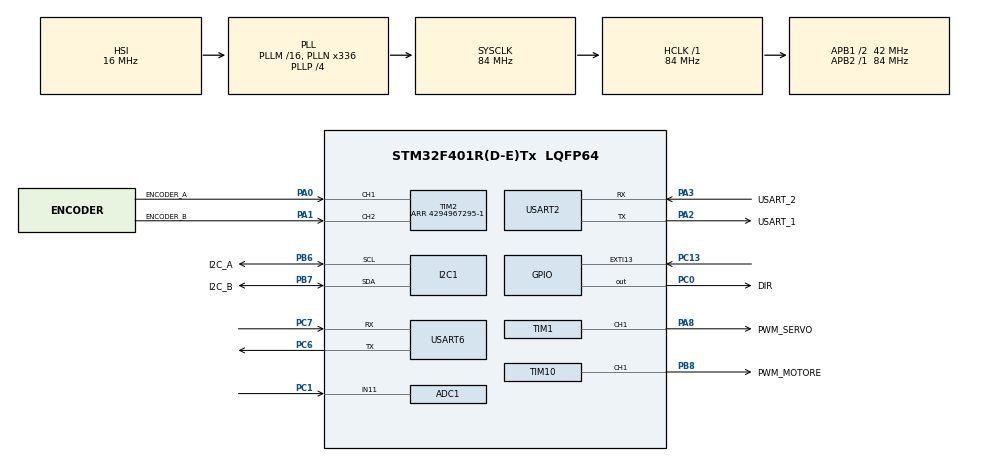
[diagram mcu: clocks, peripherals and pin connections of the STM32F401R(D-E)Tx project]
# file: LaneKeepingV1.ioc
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ADC1.Channel-0\#ChannelRegularConversion=ADC_CHANNEL_11
ADC1.NbrOfConversionFlag=1
ADC1.Rank-0\#ChannelRegularConversion=1
ADC1.SamplingTime-0\#ChannelRegularConversion=ADC_SAMPLETIME_3CYCLES
ADC1.master=1
Mcu.Family=STM32F4
Mcu.Name=STM32F401R(D-E)Tx
Mcu.Package=LQFP64
NVIC.EXTI15_10_IRQn=true\:0\:0\:false\:false\:true\:true\:true\:true
NVIC.PriorityGroup=NVIC_PRIORITYGROUP_0
NVIC.TIM1_BRK_TIM9_IRQn=true\:0\:0\:false\:false\:true\:true\:true\:true
NVIC.TIM1_TRG_COM_TIM11_IRQn=true\:0\:0\:false\:false\:true\:true\:true\:true
PA0-WKUP.GPIO_Label=ENCODER_A
PA0-WKUP.Signal=S_TIM2_CH1_ETR
PA1.GPIO_Label=ENCODER_B
PA1.Signal=S_TIM2_CH2
PA13.GPIO_Label=TMS
PA13.Mode=Serial_Wire
PA13.Signal=SYS_JTMS-SWDIO
PA14.GPIO_Label=TCK
PA14.Mode=Serial_Wire
PA14.Signal=SYS_JTCK-SWCLK
PA2.GPIO_Label=USART_1
PA2.Mode=Asynchronous
PA2.Signal=USART2_TX
PA3.GPIO_Label=USART_2
PA3.Mode=Asynchronous
PA3.Signal=USART2_RX
PA8.GPIO_Label=PWM_SERVO
PA8.Signal=S_TIM1_CH1
PB3.GPIO_Label=SWO
PB3.Signal=SYS_JTDO-SWO
PB6.GPIO_Label=I2C_A
PB6.Mode=I2C
PB6.Signal=I2C1_SCL
PB7.GPIO_Label=I2C_B
PB7.Mode=I2C
PB7.Signal=I2C1_SDA
PB8.GPIO_Label=PWM_MOTORE
PB8.Signal=S_TIM10_CH1
PC0.GPIO_Label=DIR
PC0.Signal=GPIO_Output
PC1.Signal=ADCx_IN11
PC13-ANTI_TAMP.GPIO_ModeDefaultEXTI=GPIO_MODE_IT_FALLING
PC13-ANTI_TAMP.Signal=GPXTI13
PC14-OSC32_IN.Mode=LSE-External-Oscillator
PC14-OSC32_IN.Signal=RCC_OSC32_IN
PC15-OSC32_OUT.Mode=LSE-External-Oscillator
PC15-OSC32_OUT.Signal=RCC_OSC32_OUT
PC6.Mode=Asynchronous
PC6.Signal=USART6_TX
PC7.Mode=Asynchronous
PC7.Signal=USART6_RX
PH0\ -\ OSC_IN.Mode=HSE-External-Clock-Source
PH0\ -\ OSC_IN.Signal=RCC_OSC_IN
PH1\ -\ OSC_OUT.Mode=HSE-External-Clock-Source
PH1\ -\ OSC_OUT.Signal=RCC_OSC_OUT
ProjectManager.HeapSize=0x200
ProjectManager.StackSize=0x400
ProjectManager.TargetToolchain=STM32CubeIDE
RCC.48MHZClocksFreq_Value=48000000
RCC.AHBFreq_Value=84000000
RCC.APB1CLKDivider=RCC_HCLK_DIV2
RCC.APB1Freq_Value=42000000
RCC.APB1TimFreq_Value=84000000
RCC.APB2Freq_Value=84000000
RCC.APB2TimFreq_Value=84000000
RCC.CortexFreq_Value=84000000
RCC.HCLKFreq_Value=84000000
RCC.HSE_VALUE=8000000
RCC.HSI_VALUE=16000000
RCC.PLLN=336
RCC.PLLP=RCC_PLLP_DIV4
RCC.PLLQ=7
RCC.SYSCLKFreq_VALUE=84000000
RCC.SYSCLKSource=RCC_SYSCLKSOURCE_PLLCLK
RCC.VCOOutputFreq_Value=336000000
SH.ADCx_IN11.0=ADC1_IN11,IN11
SH.S_TIM10_CH1.0=TIM10_CH1,PWM Generation1 CH1
SH.S_TIM1_CH1.0=TIM1_CH1,PWM Generation1 CH1
SH.S_TIM2_CH1_ETR.0=TIM2_CH1,Encoder_Interface
SH.S_TIM2_CH2.0=TIM2_CH2,Encoder_Interface
TIM1.Channel-PWM\ Generation1\ CH1=TIM_CHANNEL_1
TIM1.Period=1001-1
TIM1.Prescaler=1681-1
TIM1.Pulse-PWM\ Generation1\ CH1=0
TIM10.Channel=TIM_CHANNEL_1
TIM10.Period=1000-1
TIM10.Prescaler=84-1
TIM10.Pulse=0
TIM11.Period=7000-1
TIM11.Prescaler=120-1
TIM2.EncoderMode=TIM_ENCODERMODE_TI12
TIM2.IC1Filter=0
TIM2.Period=4294967295-1
USART2.VirtualMode=VM_ASYNC
USART6.VirtualMode=VM_ASYNC
VP_TIM10_VS_ClockSourceINT.Mode=Enable_Timer
VP_TIM11_VS_ClockSourceINT.Mode=Enable_Timer
VP_TIM1_VS_ClockSourceINT.Mode=Internal
board=NUCLEO-F401RE

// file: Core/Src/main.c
/* USER CODE BEGIN Header */
/**
 ******************************************************************************
 * @file           : main.c
 * @brief          : Main program body
 ******************************************************************************
 * @attention
 *
 * Copyright (c) 2023 STMicroelectronics.
 * All rights reserved.
 *
 * This software is licensed under terms that can be found in the LICENSE file
 * in the root directory of this software component.
 * If no LICENSE file comes with this software, it is provided AS-IS.
 *
 ******************************************************************************
 */
/* USER CODE END Header */
#include "main.h"

/* USER CODE BEGIN Includes */
#include <stdlib.h>
#include <stdbool.h>
#include "math.h"

#include "Configuration.h"
#include "bno055_stm32.h"
#include "servo_motor.h"
#include "DC_motor.h"
#include "PID.h"
#include "Raspberry_UART.h"
/* USER CODE END Includes */

/* USER CODE BEGIN PTD */
typedef struct SerialData {
	int enable;
	int valid;
	float offset;

	float curvature_radius_ref_m; // [m]
	float linear_speed_ref_m_s; //[m/s]
} serialData;

typedef struct VehicleData {
	//Trazione
	int counts;
	int ref_count;
	int delta_count;
	float delta_angle_deg; // [°]
	float motor_speed_deg_sec; // [°/s]
	float motor_speed_RPM; // RPM
	float linear_speed_m_s; //[m/s]
	float motor_speed_ref_RPM; // RPM
	uint8_t motor_direction_ref;

	//Sterzo
	double yaw_rate_rad_sec; // [rad/s]
	double yaw_rate_deg_sec; // [°/s]
	double yaw_rate_ref_rad_sec; //[rad/s]
} vehicleData;
/* USER CODE END PTD */

/* USER CODE BEGIN PD */
#define MAX_VALUES 5
/* USER CODE END PD */

ADC_HandleTypeDef hadc1;

I2C_HandleTypeDef hi2c1;

TIM_HandleTypeDef htim1;
TIM_HandleTypeDef htim2;
TIM_HandleTypeDef htim10;
TIM_HandleTypeDef htim11;

UART_HandleTypeDef huart2;
UART_HandleTypeDef huart6;

/* USER CODE BEGIN PV */

serialData data;
vehicleData vehicleState;

//PID
PID pid_traction, pid_steering;
double u_trazione = 0;
double u_sterzo = 0;

//Event control
int Flag_10ms = 0;
int HardwareEnable = 1;
int time_counter = 0;

//Serial input var
uint8_t msg[45] = { "\0" };

/* USER CODE END PV */

void SystemClock_Config(void);
static void MX_GPIO_Init(void);
static void MX_I2C1_Init(void);
static void MX_TIM1_Init(void);
static void MX_TIM10_Init(void);
static void MX_TIM11_Init(void);
static void MX_USART2_UART_Init(void);
static void MX_TIM2_Init(void);
static void MX_USART6_UART_Init(void);
static void MX_ADC1_Init(void);

int main(void) {

	/* MCU Configuration--------------------------------------------------------*/

	/* Reset of all peripherals, Initializes the Flash interface and the Systick. */
	HAL_Init();

	/* Configure the system clock */
	SystemClock_Config();

	/* Initialize all configured peripherals */
	MX_GPIO_Init();
	MX_I2C1_Init();
	MX_TIM1_Init();
	MX_TIM10_Init();
	MX_TIM11_Init();
	MX_USART2_UART_Init();
	MX_TIM2_Init();
	MX_USART6_UART_Init();
	MX_ADC1_Init();
	/* USER CODE BEGIN 2 */

	//PWM Servo
	HAL_TIM_PWM_Start(&htim1, TIM_CHANNEL_1);
	//PWM DC motor
	HAL_TIM_PWM_Start(&htim10, TIM_CHANNEL_1);
	//ENCODER TIMER
	HAL_TIM_Encoder_Start(&htim2, TIM_CHANNEL_ALL);
	//10ms TIMER
	HAL_TIM_Base_Start_IT(&htim11);

	//PID traction
	init_PID(&pid_traction, TRACTION_SAMPLING_TIME, MAX_U_TRACTION,
	MIN_U_TRACTION);
	tune_PID(&pid_traction, KP_TRACTION, KI_TRACTION, 0);

	//PID steering
	init_PID(&pid_steering, STEERING_SAMPLING_TIME, MAX_U_STEERING,
	MIN_U_STEERING);
	tune_PID(&pid_steering, KP_STEERING, KI_STEERING, 0);

	// IMU BNO055 config
	HAL_I2C_IsDeviceReady(&hi2c1, BNO055_I2C_ADDR << 1, 5, 1000);
	bno055_assignI2C(&hi2c1);
	bno055_setup();
	bno055_setOperationModeNDOF();

	servo_motor(0);

	printf("Initialization Completed!\r\n");

	//Test without Raspberry
	//data.enable = 0;
	//data.valid = 1;
	//data.offset = 0.0;
	//data.curvature_radius_ref_m = MAX_CURVATURE_RADIUS_FOR_STRAIGHT; //with r=1000000 the car goes straight
	//data.linear_speed_ref_m_s = 1.0;

	float RPM_2_m_s = (2 * M_PI / 60) * WHEEL_RADIUS
			/ MOTOR_REVOLUTION_FOR_ONE_WHEEL_REVOLUTION;
	RPM_2_m_s = RPM_2_m_s * 0.787; // correzione aggiunta xk non andava a 1m/s ma a 0.82m/s

	/* USER CODE END 2 */

	/* Infinite loop */
	while (1) {

		/* USER CODE BEGIN 3 */

		//-------------------------------------------------------------
		//Leggo messaggio in entrata
		mainSerialRead(msg, sizeof(msg));
		//-------------------------------------------------------------

		//-------------------------------------------------------------
		//Interpreto il messaggio
		float floatArray[MAX_VALUES];
		parseCSV(msg, floatArray);
		data.enable = (int) floatArray[0];
		data.valid = (int) floatArray[1];
		data.curvature_radius_ref_m = floatArray[2];
		data.offset = floatArray[3];
		data.linear_speed_ref_m_s = floatArray[4];

		printf("%d %d %.2f %.2f %.2f\r\n", data.enable, data.valid,
								data.curvature_radius_ref_m, data.offset,
								data.linear_speed_ref_m_s);
		//-------------------------------------------------------------

		//-------------------------------------------------------------
		//Controllo
		if (data.enable == 1 /*&& HardwareEnable == 1*/) {
			if (Flag_10ms == 1) { //Car enabled from user
				Flag_10ms = 0;

				//-------------------------------------------------------------
				//TRACTION control

				//Measure speed with encoder
				vehicleState.ref_count = TIM2->ARR / 2;
				vehicleState.delta_count = vehicleState.counts
						- vehicleState.ref_count;

				vehicleState.delta_angle_deg = (vehicleState.delta_count * 360)
						/ ((double) (ENCODER_PPR * ENCODER_COUNTING_MODE
								* GEARBOX_RATIO));
				vehicleState.motor_speed_deg_sec = vehicleState.delta_angle_deg
						/ ENCODER_SAMPLING_TIME;
				vehicleState.motor_speed_RPM = DegreeSec2RPM(
						vehicleState.motor_speed_deg_sec);

				//Speed reference for motor
				vehicleState.motor_speed_ref_RPM = data.linear_speed_ref_m_s
						/ RPM_2_m_s;

				vehicleState.motor_direction_ref = Ref2Direction(
						vehicleState.motor_speed_ref_RPM);

				u_trazione = PID_controller(&pid_traction,
						abs(vehicleState.motor_speed_RPM),
						abs(vehicleState.motor_speed_ref_RPM));

				set_PWM_and_dir((uint32_t) Voltage2Duty(u_trazione),
						vehicleState.motor_direction_ref);

				/*printf("counts: %d, diff_counts: %d, diff_angle: %f, speed_RPM: %f, ref_speed_RPM: %f\r\n",
				 vehicleState.counts, vehicleState.delta_count,
				 vehicleState.delta_angle_deg,
				 vehicleState.motor_speed_RPM, motor_speed_ref_RPM);
				 */
				//-------------------------------------------------------------
				//-------------------------------------------------------------
				//STEERING control
				//Get yawrate from IMU
				bno055_vector_t v = bno055_getVectorGyroscope();
				vehicleState.yaw_rate_deg_sec = v.z;
				vehicleState.yaw_rate_rad_sec = (vehicleState.yaw_rate_deg_sec
						* M_PI) / 180;

				if (data.curvature_radius_ref_m
						>= MAX_CURVATURE_RADIUS_FOR_STRAIGHT) {
					vehicleState.yaw_rate_ref_rad_sec = 0;
					u_sterzo = PID_controller(&pid_steering,
							vehicleState.yaw_rate_rad_sec,
							vehicleState.yaw_rate_ref_rad_sec);
					servo_motor(-u_sterzo); //minus because yawrate and steering are opposite
				} else {
					vehicleState.linear_speed_m_s = vehicleState.motor_speed_RPM
							* RPM_2_m_s;
					vehicleState.yaw_rate_ref_rad_sec =
							vehicleState.linear_speed_m_s
									/ data.curvature_radius_ref_m;

					float yaw_rate_ref_rad_sec_abs =
							vehicleState.yaw_rate_ref_rad_sec;
					float yaw_rate_rad_sec_abs = vehicleState.yaw_rate_rad_sec;
					if (vehicleState.yaw_rate_ref_rad_sec < 0)
						yaw_rate_ref_rad_sec_abs =
								-vehicleState.yaw_rate_ref_rad_sec;
					if (vehicleState.yaw_rate_rad_sec < 0)
						yaw_rate_rad_sec_abs = -vehicleState.yaw_rate_rad_sec;

					u_sterzo = PID_controller(&pid_steering,
							yaw_rate_rad_sec_abs, yaw_rate_ref_rad_sec_abs);

					//minus because yawrate and steering are opposite
					if (data.curvature_radius_ref_m >= 0 && u_sterzo > 0)
						u_sterzo *= -1.0;
					if (data.curvature_radius_ref_m < 0 && u_sterzo < 0)
						u_sterzo *= -1.0;

					servo_motor((int) u_sterzo);
					//servo_motor(10.8);

					/*printf("u sterzo: %d, yaw_rate: %f, ref: %f\r\n",
					 (int) u_sterzo, vehicleState.yaw_rate_rad_sec,
					 vehicleState.yaw_rate_ref_rad_sec);
					 */
					//-------------------------------------------------------------
				}
				/*printf("%.2f,%f,%f,%f,%.2f,%f,%f,%.2f\r\n",
						data.curvature_radius_ref_m,
						vehicleState.yaw_rate_ref_rad_sec,
						vehicleState.yaw_rate_rad_sec, u_sterzo,
						data.linear_speed_ref_m_s,
						vehicleState.motor_speed_ref_RPM,
						vehicleState.motor_speed_RPM, u_trazione);*/
			}
		} else {
			set_PWM_and_dir(0, vehicleState.motor_direction_ref);
			servo_motor(0);
		}

		//-------------------------------------------------------------

	}
	/* USER CODE END 3 */
}

void SystemClock_Config(void) {
	RCC_OscInitTypeDef RCC_OscInitStruct = { 0 };
	RCC_ClkInitTypeDef RCC_ClkInitStruct = { 0 };

	/** Configure the main internal regulator output voltage
	 */
	__HAL_RCC_PWR_CLK_ENABLE();
	__HAL_PWR_VOLTAGESCALING_CONFIG(PWR_REGULATOR_VOLTAGE_SCALE2);

	/** Initializes the RCC Oscillators according to the specified parameters
	 * in the RCC_OscInitTypeDef structure.
	 */
	RCC_OscInitStruct.OscillatorType = RCC_OSCILLATORTYPE_HSI;
	RCC_OscInitStruct.HSIState = RCC_HSI_ON;
	RCC_OscInitStruct.HSICalibrationValue = RCC_HSICALIBRATION_DEFAULT;
	RCC_OscInitStruct.PLL.PLLState = RCC_PLL_ON;
	RCC_OscInitStruct.PLL.PLLSource = RCC_PLLSOURCE_HSI;
	RCC_OscInitStruct.PLL.PLLM = 16;
	RCC_OscInitStruct.PLL.PLLN = 336;
	RCC_OscInitStruct.PLL.PLLP = RCC_PLLP_DIV4;
	RCC_OscInitStruct.PLL.PLLQ = 7;
	if (HAL_RCC_OscConfig(&RCC_OscInitStruct) != HAL_OK) {
		Error_Handler();
	}

	/** Initializes the CPU, AHB and APB buses clocks
	 */
	RCC_ClkInitStruct.ClockType = RCC_CLOCKTYPE_HCLK | RCC_CLOCKTYPE_SYSCLK
			| RCC_CLOCKTYPE_PCLK1 | RCC_CLOCKTYPE_PCLK2;
	RCC_ClkInitStruct.SYSCLKSource = RCC_SYSCLKSOURCE_PLLCLK;
	RCC_ClkInitStruct.AHBCLKDivider = RCC_SYSCLK_DIV1;
	RCC_ClkInitStruct.APB1CLKDivider = RCC_HCLK_DIV2;
	RCC_ClkInitStruct.APB2CLKDivider = RCC_HCLK_DIV1;

	if (HAL_RCC_ClockConfig(&RCC_ClkInitStruct, FLASH_LATENCY_2) != HAL_OK) {
		Error_Handler();
	}
}

static void MX_ADC1_Init(void) {

	ADC_ChannelConfTypeDef sConfig = { 0 };

	/** Configure the global features of the ADC (Clock, Resolution, Data Alignment and number of conversion)
	 */
	hadc1.Instance = ADC1;
	hadc1.Init.ClockPrescaler = ADC_CLOCK_SYNC_PCLK_DIV4;
	hadc1.Init.Resolution = ADC_RESOLUTION_12B;
	hadc1.Init.ScanConvMode = DISABLE;
	hadc1.Init.ContinuousConvMode = DISABLE;
	hadc1.Init.DiscontinuousConvMode = DISABLE;
	hadc1.Init.ExternalTrigConvEdge = ADC_EXTERNALTRIGCONVEDGE_NONE;
	hadc1.Init.ExternalTrigConv = ADC_SOFTWARE_START;
	hadc1.Init.DataAlign = ADC_DATAALIGN_RIGHT;
	hadc1.Init.NbrOfConversion = 1;
	hadc1.Init.DMAContinuousRequests = DISABLE;
	hadc1.Init.EOCSelection = ADC_EOC_SINGLE_CONV;
	if (HAL_ADC_Init(&hadc1) != HAL_OK) {
		Error_Handler();
	}

	/** Configure for the selected ADC regular channel its corresponding rank in the sequencer and its sample time.
	 */
	sConfig.Channel = ADC_CHANNEL_11;
	sConfig.Rank = 1;
	sConfig.SamplingTime = ADC_SAMPLETIME_3CYCLES;
	if (HAL_ADC_ConfigChannel(&hadc1, &sConfig) != HAL_OK) {
		Error_Handler();
	}

}

static void MX_I2C1_Init(void) {

	hi2c1.Instance = I2C1;
	hi2c1.Init.ClockSpeed = 100000;
	hi2c1.Init.DutyCycle = I2C_DUTYCYCLE_2;
	hi2c1.Init.OwnAddress1 = 0;
	hi2c1.Init.AddressingMode = I2C_ADDRESSINGMODE_7BIT;
	hi2c1.Init.DualAddressMode = I2C_DUALADDRESS_DISABLE;
	hi2c1.Init.OwnAddress2 = 0;
	hi2c1.Init.GeneralCallMode = I2C_GENERALCALL_DISABLE;
	hi2c1.Init.NoStretchMode = I2C_NOSTRETCH_DISABLE;
	if (HAL_I2C_Init(&hi2c1) != HAL_OK) {
		Error_Handler();
	}

}

static void MX_TIM1_Init(void) {

	TIM_ClockConfigTypeDef sClockSourceConfig = { 0 };
	TIM_MasterConfigTypeDef sMasterConfig = { 0 };
	TIM_OC_InitTypeDef sConfigOC = { 0 };
	TIM_BreakDeadTimeConfigTypeDef sBreakDeadTimeConfig = { 0 };

	htim1.Instance = TIM1;
	htim1.Init.Prescaler = 1681 - 1;
	htim1.Init.CounterMode = TIM_COUNTERMODE_UP;
	htim1.Init.Period = 1001 - 1;
	htim1.Init.ClockDivision = TIM_CLOCKDIVISION_DIV1;
	htim1.Init.RepetitionCounter = 0;
	htim1.Init.AutoReloadPreload = TIM_AUTORELOAD_PRELOAD_DISABLE;
	if (HAL_TIM_Base_Init(&htim1) != HAL_OK) {
		Error_Handler();
	}
	sClockSourceConfig.ClockSource = TIM_CLOCKSOURCE_INTERNAL;
	if (HAL_TIM_ConfigClockSource(&htim1, &sClockSourceConfig) != HAL_OK) {
		Error_Handler();
	}
	if (HAL_TIM_PWM_Init(&htim1) != HAL_OK) {
		Error_Handler();
	}
	sMasterConfig.MasterOutputTrigger = TIM_TRGO_RESET;
	sMasterConfig.MasterSlaveMode = TIM_MASTERSLAVEMODE_DISABLE;
	if (HAL_TIMEx_MasterConfigSynchronization(&htim1, &sMasterConfig)
			!= HAL_OK) {
		Error_Handler();
	}
	sConfigOC.OCMode = TIM_OCMODE_PWM1;
	sConfigOC.Pulse = 0;
	sConfigOC.OCPolarity = TIM_OCPOLARITY_HIGH;
	sConfigOC.OCNPolarity = TIM_OCNPOLARITY_HIGH;
	sConfigOC.OCFastMode = TIM_OCFAST_DISABLE;
	sConfigOC.OCIdleState = TIM_OCIDLESTATE_RESET;
	sConfigOC.OCNIdleState = TIM_OCNIDLESTATE_RESET;
	if (HAL_TIM_PWM_ConfigChannel(&htim1, &sConfigOC, TIM_CHANNEL_1)
			!= HAL_OK) {
		Error_Handler();
	}
	sBreakDeadTimeConfig.OffStateRunMode = TIM_OSSR_DISABLE;
	sBreakDeadTimeConfig.OffStateIDLEMode = TIM_OSSI_DISABLE;
	sBreakDeadTimeConfig.LockLevel = TIM_LOCKLEVEL_OFF;
	sBreakDeadTimeConfig.DeadTime = 0;
	sBreakDeadTimeConfig.BreakState = TIM_BREAK_DISABLE;
	sBreakDeadTimeConfig.BreakPolarity = TIM_BREAKPOLARITY_HIGH;
	sBreakDeadTimeConfig.AutomaticOutput = TIM_AUTOMATICOUTPUT_DISABLE;
	if (HAL_TIMEx_ConfigBreakDeadTime(&htim1, &sBreakDeadTimeConfig)
			!= HAL_OK) {
		Error_Handler();
	}
	HAL_TIM_MspPostInit(&htim1);

}

static void MX_TIM2_Init(void) {

	TIM_Encoder_InitTypeDef sConfig = { 0 };
	TIM_MasterConfigTypeDef sMasterConfig = { 0 };

	htim2.Instance = TIM2;
	htim2.Init.Prescaler = 0;
	htim2.Init.CounterMode = TIM_COUNTERMODE_UP;
	htim2.Init.Period = 4294967295 - 1;
	htim2.Init.ClockDivision = TIM_CLOCKDIVISION_DIV1;
	htim2.Init.AutoReloadPreload = TIM_AUTORELOAD_PRELOAD_DISABLE;
	sConfig.EncoderMode = TIM_ENCODERMODE_TI12;
	sConfig.IC1Polarity = TIM_ICPOLARITY_RISING;
	sConfig.IC1Selection = TIM_ICSELECTION_DIRECTTI;
	sConfig.IC1Prescaler = TIM_ICPSC_DIV1;
	sConfig.IC1Filter = 0;
	sConfig.IC2Polarity = TIM_ICPOLARITY_RISING;
	sConfig.IC2Selection = TIM_ICSELECTION_DIRECTTI;
	sConfig.IC2Prescaler = TIM_ICPSC_DIV1;
	sConfig.IC2Filter = 0;
	if (HAL_TIM_Encoder_Init(&htim2, &sConfig) != HAL_OK) {
		Error_Handler();
	}
	sMasterConfig.MasterOutputTrigger = TIM_TRGO_RESET;
	sMasterConfig.MasterSlaveMode = TIM_MASTERSLAVEMODE_DISABLE;
	if (HAL_TIMEx_MasterConfigSynchronization(&htim2, &sMasterConfig)
			!= HAL_OK) {
		Error_Handler();
	}

}

static void MX_TIM10_Init(void) {

	TIM_OC_InitTypeDef sConfigOC = { 0 };

	htim10.Instance = TIM10;
	htim10.Init.Prescaler = 84 - 1;
	htim10.Init.CounterMode = TIM_COUNTERMODE_UP;
	htim10.Init.Period = 1000 - 1;
	htim10.Init.ClockDivision = TIM_CLOCKDIVISION_DIV1;
	htim10.Init.AutoReloadPreload = TIM_AUTORELOAD_PRELOAD_DISABLE;
	if (HAL_TIM_Base_Init(&htim10) != HAL_OK) {
		Error_Handler();
	}
	if (HAL_TIM_PWM_Init(&htim10) != HAL_OK) {
		Error_Handler();
	}
	sConfigOC.OCMode = TIM_OCMODE_PWM1;
	sConfigOC.Pulse = 0;
	sConfigOC.OCPolarity = TIM_OCPOLARITY_HIGH;
	sConfigOC.OCFastMode = TIM_OCFAST_DISABLE;
	if (HAL_TIM_PWM_ConfigChannel(&htim10, &sConfigOC, TIM_CHANNEL_1)
			!= HAL_OK) {
		Error_Handler();
	}
	HAL_TIM_MspPostInit(&htim10);

}

static void MX_TIM11_Init(void) {

	htim11.Instance = TIM11;
	htim11.Init.Prescaler = 120 - 1;
	htim11.Init.CounterMode = TIM_COUNTERMODE_UP;
	htim11.Init.Period = 7000 - 1;
	htim11.Init.ClockDivision = TIM_CLOCKDIVISION_DIV1;
	htim11.Init.AutoReloadPreload = TIM_AUTORELOAD_PRELOAD_DISABLE;
	if (HAL_TIM_Base_Init(&htim11) != HAL_OK) {
		Error_Handler();
	}

}

static void MX_USART2_UART_Init(void) {

	huart2.Instance = USART2;
	huart2.Init.BaudRate = 115200;
	huart2.Init.WordLength = UART_WORDLENGTH_8B;
	huart2.Init.StopBits = UART_STOPBITS_1;
	huart2.Init.Parity = UART_PARITY_NONE;
	huart2.Init.Mode = UART_MODE_TX_RX;
	huart2.Init.HwFlowCtl = UART_HWCONTROL_NONE;
	huart2.Init.OverSampling = UART_OVERSAMPLING_16;
	if (HAL_UART_Init(&huart2) != HAL_OK) {
		Error_Handler();
	}

}

static void MX_USART6_UART_Init(void) {

	huart6.Instance = USART6;
	huart6.Init.BaudRate = 115200;
	huart6.Init.WordLength = UART_WORDLENGTH_8B;
	huart6.Init.StopBits = UART_STOPBITS_1;
	huart6.Init.Parity = UART_PARITY_NONE;
	huart6.Init.Mode = UART_MODE_TX_RX;
	huart6.Init.HwFlowCtl = UART_HWCONTROL_NONE;
	huart6.Init.OverSampling = UART_OVERSAMPLING_16;
	if (HAL_UART_Init(&huart6) != HAL_OK) {
		Error_Handler();
	}

}

static void MX_GPIO_Init(void) {
	GPIO_InitTypeDef GPIO_InitStruct = { 0 };

	/* GPIO Ports Clock Enable */
	__HAL_RCC_GPIOC_CLK_ENABLE();
	__HAL_RCC_GPIOH_CLK_ENABLE();
	__HAL_RCC_GPIOA_CLK_ENABLE();
	__HAL_RCC_GPIOB_CLK_ENABLE();

	/*Configure GPIO pin Output Level */
	HAL_GPIO_WritePin(DIR_GPIO_Port, DIR_Pin, GPIO_PIN_RESET);

	/*Configure GPIO pin : PC13 */
	GPIO_InitStruct.Pin = GPIO_PIN_13;
	GPIO_InitStruct.Mode = GPIO_MODE_IT_FALLING;
	GPIO_InitStruct.Pull = GPIO_NOPULL;
	HAL_GPIO_Init(GPIOC, &GPIO_InitStruct);

	/*Configure GPIO pin : DIR_Pin */
	GPIO_InitStruct.Pin = DIR_Pin;
	GPIO_InitStruct.Mode = GPIO_MODE_OUTPUT_PP;
	GPIO_InitStruct.Pull = GPIO_NOPULL;
	GPIO_InitStruct.Speed = GPIO_SPEED_FREQ_LOW;
	HAL_GPIO_Init(DIR_GPIO_Port, &GPIO_InitStruct);

	/* EXTI interrupt init*/
	HAL_NVIC_SetPriority(EXTI15_10_IRQn, 0, 0);
	HAL_NVIC_EnableIRQ(EXTI15_10_IRQn);

}

/* USER CODE BEGIN 4 */

//Timer11 for temporization
void HAL_TIM_PeriodElapsedCallback(TIM_HandleTypeDef *htim) {
	if (htim == &htim11) {
		Flag_10ms = 1;

		//Encoder
		vehicleState.counts = TIM2->CNT;
		TIM2->CNT = TIM2->ARR / 2;

		//References
		time_counter++;

		if (time_counter == 200) {
			data.curvature_radius_ref_m = 1.3; //2.2;//2.2; //1.3;
			pid_steering.Iterm = 0;
			pid_steering.e_old = 0;
		}

		if (time_counter == 580) {
			data.enable = 0;
		}
		/*
		 if (time_counter == 3000) {
		 data.enable = 0;
		 }
		 */

	}
}

//USART2 -> ST_Link UART for DEBUG with USB (e.g. PUTTY)
int __io_putchar(int ch) {
	HAL_UART_Transmit(&huart2, (uint8_t*) &ch, 1, 0xFFFF);
	return ch;
}

//BLUE user button
void HAL_GPIO_EXTI_Callback(uint16_t GPIO_Pin) {
	if (GPIO_Pin == GPIO_PIN_13) {
		if (HardwareEnable == 0) {
			HardwareEnable = 1;
		} else {
			HardwareEnable = 0;
		}
	}
}

/* USER CODE END 4 */

void Error_Handler(void) {
	__disable_irq();
	while (1) {
	}
}
